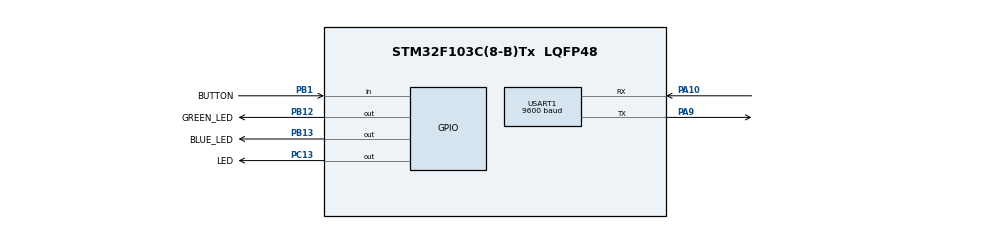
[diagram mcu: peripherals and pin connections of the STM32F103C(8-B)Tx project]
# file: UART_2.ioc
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Mcu.Family=STM32F1
Mcu.Name=STM32F103C(8-B)Tx
Mcu.Package=LQFP48
NVIC.PriorityGroup=NVIC_PRIORITYGROUP_4
PA10.Mode=Asynchronous
PA10.Signal=USART1_RX
PA13.Mode=Serial_Wire
PA13.Signal=SYS_JTMS-SWDIO
PA14.Mode=Serial_Wire
PA14.Signal=SYS_JTCK-SWCLK
PA9.Mode=Asynchronous
PA9.Signal=USART1_TX
PB1.GPIO_Label=BUTTON
PB1.GPIO_PuPd=GPIO_PULLUP
PB1.Signal=GPIO_Input
PB12.GPIO_Label=GREEN_LED
PB12.Signal=GPIO_Output
PB13.GPIO_Label=BLUE_LED
PB13.Signal=GPIO_Output
PC13-TAMPER-RTC.GPIO_Label=LED
PC13-TAMPER-RTC.Signal=GPIO_Output
PD0-OSC_IN.Mode=HSE-External-Oscillator
PD0-OSC_IN.Signal=RCC_OSC_IN
PD1-OSC_OUT.Mode=HSE-External-Oscillator
PD1-OSC_OUT.Signal=RCC_OSC_OUT
ProjectManager.HeapSize=0x200
ProjectManager.StackSize=0x400
ProjectManager.TargetToolchain=STM32CubeIDE
RCC.APB1Freq_Value=8000000
RCC.APB2Freq_Value=8000000
RCC.EnbaleCSS=true
RCC.PLLSourceVirtual=RCC_PLLSOURCE_HSE
RCC.SYSCLKSource=RCC_SYSCLKSOURCE_HSE
RCC.USBFreq_Value=16000000
USART1.BaudRate=9600
USART1.VirtualMode=VM_ASYNC
board=custom

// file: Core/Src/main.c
/* USER CODE BEGIN Header */
/**
  ******************************************************************************
  * @file           : main.c
  * @brief          : Main program body
  ******************************************************************************
  * @attention
  *
  * Copyright (c) 2023 STMicroelectronics.
  * All rights reserved.
  *
  * This software is licensed under terms that can be found in the LICENSE file
  * in the root directory of this software component.
  * If no LICENSE file comes with this software, it is provided AS-IS.
  *
  ******************************************************************************
  */
// Check ANSI formats for console display:
// https://gist.github.com/fnky/458719343aabd01cfb17a3a4f7296797

/* USER CODE END Header */

#include "main.h"
#include "usart.h"
#include "gpio.h"
#include <string.h>

/* USER CODE BEGIN PD */
#define WELCOME_MSG "Welcome to the UART_2 console test\r\n"
#define MAIN_MENU "Select an option:\r\n1-Toggle green led\r\n2-Toggle blue led\r\n3-Make a sound"
#define PROMPT "\r\n>"

/* USER CODE END PD */

void SystemClock_Config(void);

/* USER CODE BEGIN PFP */
void printWelcomeMessage(void); // Print initial message
uint8_t readInput(void);
uint8_t processInput(uint8_t option);
void printMessage(void);

/* USER CODE END PFP */

int main(void)
{
  /* USER CODE BEGIN 1 */
	uint8_t option = 0; // Initial option value
	uint8_t result = 0;

  /* USER CODE END 1 */

  /* MCU Configuration--------------------------------------------------------*/

  /* Reset of all peripherals, Initializes the Flash interface and the Systick. */
  HAL_Init();

  /* Configure the system clock */
  SystemClock_Config();

  /* Initialize all configured peripherals */
  MX_GPIO_Init();
  MX_USART1_UART_Init();
  /* USER CODE BEGIN 2 */

  printMessage:

	  printWelcomeMessage();
	  /* USER CODE END 2 */

	  /* Infinite loop */
	  /* USER CODE BEGIN WHILE */
	  while (1)
	  {
		  option = readInput();
		  result = processInput(option);
		  if(result==1) goto printMessage;
		/* USER CODE END WHILE */

	  }
}

void SystemClock_Config(void)
{
  RCC_OscInitTypeDef RCC_OscInitStruct = {0};
  RCC_ClkInitTypeDef RCC_ClkInitStruct = {0};

  /** Initializes the RCC Oscillators according to the specified parameters
  * in the RCC_OscInitTypeDef structure.
  */
  RCC_OscInitStruct.OscillatorType = RCC_OSCILLATORTYPE_HSE;
  RCC_OscInitStruct.HSEState = RCC_HSE_ON;
  RCC_OscInitStruct.PLL.PLLState = RCC_PLL_NONE;
  if (HAL_RCC_OscConfig(&RCC_OscInitStruct) != HAL_OK)
  {
    Error_Handler();
  }

  /** Initializes the CPU, AHB and APB buses clocks
  */
  RCC_ClkInitStruct.ClockType = RCC_CLOCKTYPE_HCLK|RCC_CLOCKTYPE_SYSCLK
                              |RCC_CLOCKTYPE_PCLK1|RCC_CLOCKTYPE_PCLK2;
  RCC_ClkInitStruct.SYSCLKSource = RCC_SYSCLKSOURCE_HSE;
  RCC_ClkInitStruct.AHBCLKDivider = RCC_SYSCLK_DIV1;
  RCC_ClkInitStruct.APB1CLKDivider = RCC_HCLK_DIV1;
  RCC_ClkInitStruct.APB2CLKDivider = RCC_HCLK_DIV1;

  if (HAL_RCC_ClockConfig(&RCC_ClkInitStruct, FLASH_LATENCY_0) != HAL_OK)
  {
    Error_Handler();
  }

  /** Enables the Clock Security System
  */
  HAL_RCC_EnableCSS();
}

/* USER CODE BEGIN 4 */

/* Print welcome message at startup*/
void printWelcomeMessage(void){
	HAL_UART_Transmit(&huart1, WELCOME_MSG, strlen(WELCOME_MSG), HAL_MAX_DELAY);
	HAL_UART_Transmit(&huart1, MAIN_MENU, strlen(MAIN_MENU), HAL_MAX_DELAY);
}

/* Read user input and return the option selected 1-2-3*/
uint8_t readInput(void){
	char rxBuffer[1];

	HAL_UART_Transmit(&huart1, PROMPT, strlen(PROMPT), HAL_MAX_DELAY);
	HAL_UART_Receive(&huart1, rxBuffer, 1, HAL_MAX_DELAY);

	return atoi(rxBuffer);
}

uint8_t processInput(uint8_t option){
	char msg[30];

	// print what was selected
	sprintf(msg, "\r\n>Executing OPTION %d...\r\n",option);
	HAL_UART_Transmit(&huart1, msg, strlen(msg), HAL_MAX_DELAY);

	// Execute selected action
	switch(option){
	case 1: // toggle green led
		HAL_GPIO_TogglePin(GREEN_LED_GPIO_Port, GREEN_LED_Pin);
		return 0;
	case 2: // toggle blue led
		HAL_GPIO_TogglePin(BLUE_LED_GPIO_Port, BLUE_LED_Pin);
		return 0;
	case 3:
		HAL_UART_Transmit(&huart1, "\a", 1, HAL_MAX_DELAY);
		return 0;
	default:
		sprintf(msg, "\r\n> %d is not a valid option");
		HAL_UART_Transmit(&huart1, msg, strlen(msg), HAL_MAX_DELAY);
		return 1;

	}

}

/* USER CODE END 4 */

void Error_Handler(void)
{
  __disable_irq();
  while (1)
  {
  }
}
